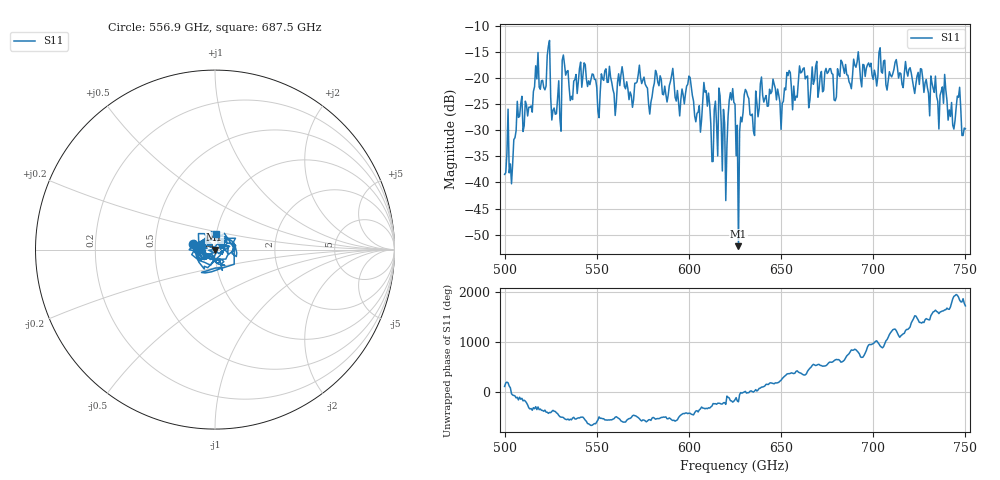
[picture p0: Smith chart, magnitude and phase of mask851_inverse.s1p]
!Created with skrf (http://scikit-rf.org).
# GHz S MA R 50.0
!freq magS11 angS11
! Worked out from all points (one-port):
!   401 points, 500 GHz to 750 GHz, reference 50 ohm
!   lowest |S11| = -52.2 dB at 626.9 GHz (marker M1), VSWR 1.00, Z = 49.8 + j0.0501 ohm
!   |S11| at or under -10 dB: start of sweep to end of sweep
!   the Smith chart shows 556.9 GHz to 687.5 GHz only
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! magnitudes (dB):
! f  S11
! 500 GHz  -38.4
! 516.9 GHz  -17.7
! 523.8 GHz  -13.9
! 526.9 GHz  -25.8
! 531.2 GHz  -16.6
! 532.5 GHz  -17.4
! 562.5 GHz  -21.5
! 578.8 GHz  -26.9
! 590.6 GHz  -19.5
! 593.8 GHz  -22.4
! 600 GHz  -19.6
! 605 GHz  -26.5
! 609.4 GHz  -22.4
! 612.5 GHz  -36.0
! 617.5 GHz  -28.5
! 619.4 GHz  -28.7
! 622.5 GHz  -22.8
! 625 GHz  -25.0
! 626.9 GHz  -52.2
! 631.2 GHz  -22.6
! 634.4 GHz  -26.9
! 640 GHz  -23.3
! 656.2 GHz  -26.1
! 687.5 GHz  -21.2
! 718.8 GHz  -19.6
! 743.1 GHz  -29.0
! 746.2 GHz  -23.7
! 750 GHz  -29.7
